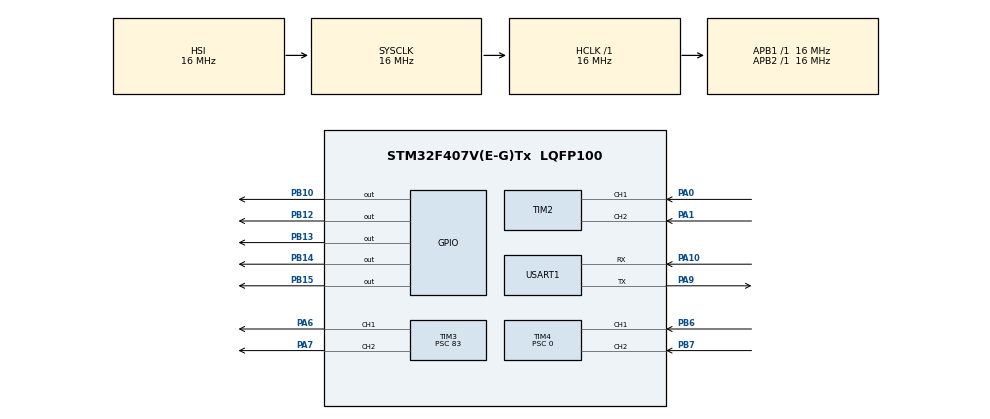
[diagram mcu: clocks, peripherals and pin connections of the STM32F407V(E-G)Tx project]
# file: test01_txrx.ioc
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Mcu.Family=STM32F4
Mcu.Name=STM32F407V(E-G)Tx
Mcu.Package=LQFP100
NVIC.PriorityGroup=NVIC_PRIORITYGROUP_4
NVIC.USART1_IRQn=true\:0\:0\:false\:false\:true\:true\:true\:true
PA0-WKUP.Signal=S_TIM2_CH1_ETR
PA1.Signal=S_TIM2_CH2
PA10.Mode=Asynchronous
PA10.Signal=USART1_RX
PA13.Mode=Serial_Wire
PA13.Signal=SYS_JTMS-SWDIO
PA14.Mode=Serial_Wire
PA14.Signal=SYS_JTCK-SWCLK
PA6.Signal=S_TIM3_CH1
PA7.Signal=S_TIM3_CH2
PA9.Mode=Asynchronous
PA9.Signal=USART1_TX
PB10.Signal=GPIO_Output
PB12.Signal=GPIO_Output
PB13.Signal=GPIO_Output
PB14.Signal=GPIO_Output
PB15.Signal=GPIO_Output
PB6.Signal=S_TIM4_CH1
PB7.Signal=S_TIM4_CH2
ProjectManager.HeapSize=0x200
ProjectManager.StackSize=0x400
ProjectManager.TargetToolchain=CMake
RCC.AHBFreq_Value=16000000
RCC.APB1Freq_Value=16000000
RCC.APB2Freq_Value=16000000
RCC.CortexFreq_Value=16000000
RCC.HSE_VALUE=25000000
RCC.HSI_VALUE=16000000
RCC.LSE_VALUE=32768
RCC.SYSCLKFreq_VALUE=16000000
RCC.VCOOutputFreq_Value=192000000
SH.S_TIM2_CH1_ETR.0=TIM2_CH1,Encoder_Interface
SH.S_TIM2_CH2.0=TIM2_CH2,Encoder_Interface
SH.S_TIM3_CH1.0=TIM3_CH1,PWM Generation1 CH1
SH.S_TIM3_CH2.0=TIM3_CH2,PWM Generation2 CH2
SH.S_TIM4_CH1.0=TIM4_CH1,Encoder_Interface
SH.S_TIM4_CH2.0=TIM4_CH2,Encoder_Interface
TIM3.Channel-PWM\ Generation1\ CH1=TIM_CHANNEL_1
TIM3.Channel-PWM\ Generation2\ CH2=TIM_CHANNEL_2
TIM3.Period=999
TIM3.Prescaler=83
TIM4.EncoderMode=TIM_ENCODERMODE_TI12
TIM4.Period=65535
TIM4.Prescaler=0
USART1.VirtualMode=VM_ASYNC
board=custom

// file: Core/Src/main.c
/* USER CODE BEGIN Header */
/**
  ******************************************************************************
  * @file           : main.c
  * @brief          : Main program body
  ******************************************************************************
  * @attention
  *
  * Copyright (c) 2026 STMicroelectronics.
  * All rights reserved.
  *
  * This software is licensed under terms that can be found in the LICENSE file
  * in the root directory of this software component.
  * If no LICENSE file comes with this software, it is provided AS-IS.
  *
  ******************************************************************************
  */
/* USER CODE END Header */
#include "main.h"

/* USER CODE BEGIN Includes */
#include <string.h>
#include <stdio.h>
#include <stdlib.h>
/* USER CODE END Includes */

/* USER CODE BEGIN PD */
#define MOTOR_A_PWM_MAX 999U
#define ENCODER_DIR_SIGN (-1)
#define RIGHT_ENCODER_SIGN 1
#define LEFT_ENCODER_FB_SIGN (1)
#define RIGHT_ENCODER_FB_SIGN (-1)
#define CMD_TO_DELTA_DIV 4
#define LEFT_PWM_PER_DELTA 5.0f
#define RIGHT_PWM_PER_DELTA 2.8f
#define SPEED_KP 1.0f
#define SPEED_KI 0.0f
#define SPEED_KD 0.0f
#define SPEED_I_LIMIT 300.0f
#define PWM_LIMIT 999
#define PWM_MIN_START 120
#define LEFT_MOTOR_SIGN -1
#define RIGHT_MOTOR_SIGN 1

/* USER CODE END PD */

TIM_HandleTypeDef htim2;
TIM_HandleTypeDef htim3;
TIM_HandleTypeDef htim4;

UART_HandleTypeDef huart1;

/* USER CODE BEGIN PV */

uint8_t rx_byte;
uint8_t rx_buf[128];
volatile uint16_t rx_len = 0;
volatile uint8_t line_ready = 0;
float cmd_vx = 0.0f;
float cmd_wz = 0.0f;
volatile uint32_t last_cmd_tick = 0;
volatile int16_t current_motor_pwm = 0;
volatile uint8_t motor_timeout = 0;
volatile int16_t current_b_pwm = 0;
volatile uint32_t last_b_cmd_tick = 0;
volatile int16_t current_left_pwm = 0;
volatile int16_t current_right_pwm = 0;
volatile uint8_t base_timeout = 0;
volatile int16_t right_encoder_count = 0;
volatile int16_t right_encoder_last = 0;
volatile int16_t right_encoder_delta = 0;
volatile int16_t target_left_delta = 0;
volatile int16_t target_right_delta = 0;
volatile int16_t actual_left_delta = 0;
volatile int16_t actual_right_delta = 0;
volatile int16_t control_left_pwm = 0;
volatile int16_t control_right_pwm = 0;
uint8_t robot_error = 0;
int cmd_vx_i = 0;
int cmd_wz_i = 0;

/* encoder variables */
volatile int32_t encoder_cnt = 0;
volatile int32_t encoder_last_cnt = 0;
volatile int32_t encoder_delta = 0;
volatile uint32_t encoder_last_tick = 0;

volatile int16_t target_speed_delta = 0;
volatile int16_t actual_speed_delta = 0;
volatile int16_t control_pwm = 0;
volatile uint8_t speed_loop_enabled = 0;

int32_t encoder_count = 0;
int32_t encoder_last = 0;
uint32_t last_speed_tick = 0;

float kp = 3.0f;
float ki = 0.0f;
float kd = 0.0f;

float pid_integral = 0.0f;
float pid_last_error = 0.0f;
static float left_err_i = 0.0f;
static float right_err_i = 0.0f;
static float left_last_err = 0.0f;
static float right_last_err = 0.0f;

/* USER CODE END PV */

void SystemClock_Config(void);
static void MX_GPIO_Init(void);
static void MX_USART1_UART_Init(void);
static void MX_TIM3_Init(void);
static void MX_TIM2_Init(void);
static void MX_TIM4_Init(void);
/* USER CODE BEGIN PFP */
void Motor_A_Stop(void);
void Motor_A_Forward(uint16_t pwm);
void Motor_A_Backward(uint16_t pwm);
void Motor_A_Set(int16_t pwm);
void Motor_B_Stop(void);
void Motor_B_Forward(uint16_t pwm);
void Motor_B_Backward(uint16_t pwm);
void Motor_B_Set(int16_t pwm);
void Base_Stop(void);
void Base_OpenLoop_Set(int16_t left_pwm, int16_t right_pwm);
void Speed_Loop_Update(void);
void Encoder_Right_Update(void);
void Base_SpeedLoop_Update(void);

/* USER CODE END PFP */

int main(void)
{

  /* MCU Configuration--------------------------------------------------------*/

  /* Reset of all peripherals, Initializes the Flash interface and the Systick. */
  HAL_Init();

  /* Configure the system clock */
  SystemClock_Config();

  /* Initialize all configured peripherals */
  MX_GPIO_Init();
  MX_USART1_UART_Init();
  MX_TIM3_Init();
  MX_TIM2_Init();
  MX_TIM4_Init();
  /* USER CODE BEGIN 2 */
  // char *hello = "Hello, UART!\r\n";
  // HAL_UART_Transmit(&huart1, (uint8_t *)hello, strlen(hello), 100);
  if (HAL_TIM_PWM_Start(&htim3, TIM_CHANNEL_1) != HAL_OK)
  {
    Error_Handler();
  }
  if (HAL_TIM_PWM_Start(&htim3, TIM_CHANNEL_2) != HAL_OK)
  {
    Error_Handler();
  }

  /* start encoder */
  if (HAL_TIM_Encoder_Start(&htim2, TIM_CHANNEL_ALL) != HAL_OK)
  {
    Error_Handler();
  }
  if (HAL_TIM_Encoder_Start(&htim4, TIM_CHANNEL_ALL) != HAL_OK)
  {
    Error_Handler();
  }

  Base_Stop();

  encoder_last = (int32_t)__HAL_TIM_GET_COUNTER(&htim2);
  encoder_count = encoder_last;
  encoder_cnt = encoder_count;
  encoder_last_cnt = encoder_count;
  encoder_delta = 0;
  actual_speed_delta = 0;
  encoder_last_tick = HAL_GetTick();
  last_speed_tick = HAL_GetTick();
  last_cmd_tick = HAL_GetTick();
  target_speed_delta = 0;
  control_pwm = 0;
  current_motor_pwm = 0;
  current_b_pwm = 0;
  current_left_pwm = 0;
  current_right_pwm = 0;
  right_encoder_last = (int16_t)__HAL_TIM_GET_COUNTER(&htim4);
  right_encoder_count = 0;
  right_encoder_delta = 0;
  target_left_delta = 0;
  target_right_delta = 0;
  actual_left_delta = 0;
  actual_right_delta = 0;
  control_left_pwm = 0;
  control_right_pwm = 0;
  speed_loop_enabled = 0;
  pid_integral = 0.0f;
  pid_last_error = 0.0f;
  left_err_i = 0.0f;
  right_err_i = 0.0f;
  left_last_err = 0.0f;
  right_last_err = 0.0f;
  motor_timeout = 0;
  base_timeout = 0;
  last_b_cmd_tick = HAL_GetTick();

  HAL_UART_Receive_IT(&huart1, &rx_byte, 1);
  const uint8_t boot_msg[] = "STM32 v0.9 STATUS PACKET BOOT\r\n";
  HAL_UART_Transmit(&huart1, (uint8_t *)boot_msg, sizeof(boot_msg) - 1U, 100);

  /* USER CODE END 2 */

  /* Infinite loop */
  while (1)
  {

    /* USER CODE BEGIN 3 */
    if (line_ready)
    {
      uint8_t line_buf[sizeof(rx_buf)];
      uint16_t line_len;

      __disable_irq();
      line_len = rx_len;
      if (line_len >= sizeof(line_buf))
      {
        line_len = sizeof(line_buf) - 1U;
      }
      memcpy(line_buf, rx_buf, line_len);
      line_buf[line_len] = '\0';
      rx_len = 0;
      rx_buf[0] = '\0';
      line_ready = 0;
      __enable_irq();

      if (sscanf((char *)line_buf, "V,%d,%d", &cmd_vx_i, &cmd_wz_i) == 2)
      {
        char msg[64];
        int32_t left_pwm_calc = (int32_t)cmd_vx_i - (int32_t)cmd_wz_i;
        int32_t right_pwm_calc = (int32_t)cmd_vx_i + (int32_t)cmd_wz_i;

        last_cmd_tick = HAL_GetTick();
        last_b_cmd_tick = HAL_GetTick();
        base_timeout = 0;
        motor_timeout = 0;

        if (left_pwm_calc > (int32_t)MOTOR_A_PWM_MAX)
        {
          left_pwm_calc = (int32_t)MOTOR_A_PWM_MAX;
        }
        else if (left_pwm_calc < -(int32_t)MOTOR_A_PWM_MAX)
        {
          left_pwm_calc = -(int32_t)MOTOR_A_PWM_MAX;
        }

        if (right_pwm_calc > (int32_t)MOTOR_A_PWM_MAX)
        {
          right_pwm_calc = (int32_t)MOTOR_A_PWM_MAX;
        }
        else if (right_pwm_calc < -(int32_t)MOTOR_A_PWM_MAX)
        {
          right_pwm_calc = -(int32_t)MOTOR_A_PWM_MAX;
        }

        target_left_delta = (int16_t)(left_pwm_calc / CMD_TO_DELTA_DIV);
        target_right_delta = (int16_t)(right_pwm_calc / CMD_TO_DELTA_DIV);

        if ((left_pwm_calc == 0) && (right_pwm_calc == 0))
        {
          speed_loop_enabled = 0;
          target_speed_delta = 0;
          control_pwm = 0;
          target_left_delta = 0;
          target_right_delta = 0;
          control_left_pwm = 0;
          control_right_pwm = 0;
          left_err_i = 0.0f;
          right_err_i = 0.0f;
          left_last_err = 0.0f;
          right_last_err = 0.0f;
          pid_integral = 0.0f;
          pid_last_error = 0.0f;
          Base_Stop();
        }
        else
        {
          speed_loop_enabled = 1;
        }

        int len = snprintf(msg, sizeof(msg),
                           "ACK,V,%d,%d,%d,%d,%d\r\n",
                           cmd_vx_i, cmd_wz_i, target_left_delta,
                           target_right_delta, speed_loop_enabled);
        if (len >= (int)sizeof(msg))
        {
          len = (int)sizeof(msg) - 1;
        }
        if (len > 0)
        {
          HAL_UART_Transmit(&huart1, (uint8_t *)msg, (uint16_t)len, 100);
        }
      }
      else if (strcmp((char *)line_buf, "Q") == 0)
      {
        const uint8_t ver_msg[] = "VER,0.9,DUAL_SPEED_LOOP_STATUS\r\n";
        HAL_UART_Transmit(&huart1, (uint8_t *)ver_msg, sizeof(ver_msg) - 1U, 100);
      }
      else
{
  int a_pwm = 0;
  int b_pwm = 0;

  if (sscanf((char *)line_buf, "A,%d", &a_pwm) == 1)
  {
    char msg[32];

    if (a_pwm > (int)MOTOR_A_PWM_MAX)
    {
      a_pwm = (int)MOTOR_A_PWM_MAX;
    }
    else if (a_pwm < -(int)MOTOR_A_PWM_MAX)
    {
      a_pwm = -(int)MOTOR_A_PWM_MAX;
    }

    // 关闭闭环，防止 PID 抢控制权
    speed_loop_enabled = 0;
    target_speed_delta = 0;
    control_pwm = 0;
    target_left_delta = 0;
    target_right_delta = 0;
    control_left_pwm = 0;
    control_right_pwm = 0;

    left_err_i = 0.0f;
    right_err_i = 0.0f;
    left_last_err = 0.0f;
    right_last_err = 0.0f;
    pid_integral = 0.0f;
    pid_last_error = 0.0f;

    // 只转 A 路，B 路停止
    Motor_B_Stop();
    current_b_pwm = 0;
    current_left_pwm = a_pwm;
    current_right_pwm = 0;

    // 这里故意不乘 LEFT_MOTOR_SIGN，用来检查 A 路物理对应哪个轮子
    Motor_A_Set((int16_t)a_pwm);

    last_b_cmd_tick = HAL_GetTick();

    int len = snprintf(msg, sizeof(msg), "ACK,A,%d\r\n", a_pwm);
    if (len >= (int)sizeof(msg))
    {
      len = (int)sizeof(msg) - 1;
    }
    if (len > 0)
    {
      HAL_UART_Transmit(&huart1, (uint8_t *)msg, (uint16_t)len, 100);
    }
  }
  else if (sscanf((char *)line_buf, "B,%d", &b_pwm) == 1)
  {
    char msg[32];

    if (b_pwm > (int)MOTOR_A_PWM_MAX)
    {
      b_pwm = (int)MOTOR_A_PWM_MAX;
    }
    else if (b_pwm < -(int)MOTOR_A_PWM_MAX)
    {
      b_pwm = -(int)MOTOR_A_PWM_MAX;
    }

    // 关闭闭环，防止 PID 抢控制权
    speed_loop_enabled = 0;
    target_speed_delta = 0;
    control_pwm = 0;
    target_left_delta = 0;
    target_right_delta = 0;
    control_left_pwm = 0;
    control_right_pwm = 0;

    left_err_i = 0.0f;
    right_err_i = 0.0f;
    left_last_err = 0.0f;
    right_last_err = 0.0f;
    pid_integral = 0.0f;
    pid_last_error = 0.0f;

    // 只转 B 路，A 路停止
    Motor_A_Stop();
    current_left_pwm = 0;
    current_right_pwm = b_pwm;

    // 这里故意不乘 RIGHT_MOTOR_SIGN，用来检查 B 路物理对应哪个轮子
    Motor_B_Set((int16_t)b_pwm);

    last_b_cmd_tick = HAL_GetTick();

    int len = snprintf(msg, sizeof(msg), "ACK,B,%d\r\n", b_pwm);
    if (len >= (int)sizeof(msg))
    {
      len = (int)sizeof(msg) - 1;
    }
    if (len > 0)
    {
      HAL_UART_Transmit(&huart1, (uint8_t *)msg, (uint16_t)len, 100);
    }
  }
  else
  {
    if ((line_buf[0] == 'V') || (line_buf[0] == 'A') || (line_buf[0] == 'B'))
    {
      const uint8_t parse_err_msg[] = "ERR,PARSE\r\n";
      HAL_UART_Transmit(&huart1, (uint8_t *)parse_err_msg, sizeof(parse_err_msg) - 1U, 100);
    }
    else
    {
      const uint8_t unknown_msg[] = "ERR,UNKNOWN_CMD\r\n";
      HAL_UART_Transmit(&huart1, (uint8_t *)unknown_msg, sizeof(unknown_msg) - 1U, 100);
    }
  }
}
    }

    if ((HAL_GetTick() - last_cmd_tick > 500U) && (speed_loop_enabled == 1U))
    {
      const uint8_t timeout_msg[] = "EVT,BASE_TIMEOUT_STOP\r\n";

      speed_loop_enabled = 0;
      target_speed_delta = 0;
      control_pwm = 0;
      target_left_delta = 0;
      target_right_delta = 0;
      control_left_pwm = 0;
      control_right_pwm = 0;
      pid_integral = 0.0f;
      pid_last_error = 0.0f;
      left_err_i = 0.0f;
      right_err_i = 0.0f;
      left_last_err = 0.0f;
      right_last_err = 0.0f;
      base_timeout = 1;
      Base_Stop();
      HAL_UART_Transmit(&huart1, (uint8_t *)timeout_msg, sizeof(timeout_msg) - 1U, 100);
    }

    if ((speed_loop_enabled == 0U) &&
        (HAL_GetTick() - last_b_cmd_tick > 1000U) && (current_b_pwm != 0))
    {
      const uint8_t timeout_b_msg[] = "MOTOR B TIMEOUT STOP\r\n";

      Motor_B_Stop();
      HAL_UART_Transmit(&huart1, (uint8_t *)timeout_b_msg, sizeof(timeout_b_msg) - 1U, 100);
    }

    if (HAL_GetTick() - last_speed_tick >= 100U)
    {
      last_speed_tick += 100U;
      Base_SpeedLoop_Update();
    }

  }

  /* USER CODE END 3 */
}

void SystemClock_Config(void)
{
  RCC_OscInitTypeDef RCC_OscInitStruct = {0};
  RCC_ClkInitTypeDef RCC_ClkInitStruct = {0};

  /** Configure the main internal regulator output voltage
  */
  __HAL_RCC_PWR_CLK_ENABLE();
  __HAL_PWR_VOLTAGESCALING_CONFIG(PWR_REGULATOR_VOLTAGE_SCALE1);

  /** Initializes the RCC Oscillators according to the specified parameters
  * in the RCC_OscInitTypeDef structure.
  */
  RCC_OscInitStruct.OscillatorType = RCC_OSCILLATORTYPE_HSI;
  RCC_OscInitStruct.HSIState = RCC_HSI_ON;
  RCC_OscInitStruct.HSICalibrationValue = RCC_HSICALIBRATION_DEFAULT;
  RCC_OscInitStruct.PLL.PLLState = RCC_PLL_NONE;
  if (HAL_RCC_OscConfig(&RCC_OscInitStruct) != HAL_OK)
  {
    Error_Handler();
  }

  /** Initializes the CPU, AHB and APB buses clocks
  */
  RCC_ClkInitStruct.ClockType = RCC_CLOCKTYPE_HCLK|RCC_CLOCKTYPE_SYSCLK
                              |RCC_CLOCKTYPE_PCLK1|RCC_CLOCKTYPE_PCLK2;
  RCC_ClkInitStruct.SYSCLKSource = RCC_SYSCLKSOURCE_HSI;
  RCC_ClkInitStruct.AHBCLKDivider = RCC_SYSCLK_DIV1;
  RCC_ClkInitStruct.APB1CLKDivider = RCC_HCLK_DIV1;
  RCC_ClkInitStruct.APB2CLKDivider = RCC_HCLK_DIV1;

  if (HAL_RCC_ClockConfig(&RCC_ClkInitStruct, FLASH_LATENCY_0) != HAL_OK)
  {
    Error_Handler();
  }
}

static void MX_TIM2_Init(void)
{

  TIM_Encoder_InitTypeDef sConfig = {0};
  TIM_MasterConfigTypeDef sMasterConfig = {0};

  htim2.Instance = TIM2;
  htim2.Init.Prescaler = 0;
  htim2.Init.CounterMode = TIM_COUNTERMODE_UP;
  htim2.Init.Period = 4294967295;
  htim2.Init.ClockDivision = TIM_CLOCKDIVISION_DIV1;
  htim2.Init.AutoReloadPreload = TIM_AUTORELOAD_PRELOAD_DISABLE;
  sConfig.EncoderMode = TIM_ENCODERMODE_TI1;
  sConfig.IC1Polarity = TIM_ICPOLARITY_RISING;
  sConfig.IC1Selection = TIM_ICSELECTION_DIRECTTI;
  sConfig.IC1Prescaler = TIM_ICPSC_DIV1;
  sConfig.IC1Filter = 0;
  sConfig.IC2Polarity = TIM_ICPOLARITY_RISING;
  sConfig.IC2Selection = TIM_ICSELECTION_DIRECTTI;
  sConfig.IC2Prescaler = TIM_ICPSC_DIV1;
  sConfig.IC2Filter = 0;
  if (HAL_TIM_Encoder_Init(&htim2, &sConfig) != HAL_OK)
  {
    Error_Handler();
  }
  sMasterConfig.MasterOutputTrigger = TIM_TRGO_RESET;
  sMasterConfig.MasterSlaveMode = TIM_MASTERSLAVEMODE_DISABLE;
  if (HAL_TIMEx_MasterConfigSynchronization(&htim2, &sMasterConfig) != HAL_OK)
  {
    Error_Handler();
  }

}

static void MX_TIM4_Init(void)
{

  TIM_Encoder_InitTypeDef sConfig = {0};
  TIM_MasterConfigTypeDef sMasterConfig = {0};

  htim4.Instance = TIM4;
  htim4.Init.Prescaler = 0;
  htim4.Init.CounterMode = TIM_COUNTERMODE_UP;
  htim4.Init.Period = 65535;
  htim4.Init.ClockDivision = TIM_CLOCKDIVISION_DIV1;
  htim4.Init.AutoReloadPreload = TIM_AUTORELOAD_PRELOAD_DISABLE;
  sConfig.EncoderMode = TIM_ENCODERMODE_TI12;
  sConfig.IC1Polarity = TIM_ICPOLARITY_RISING;
  sConfig.IC1Selection = TIM_ICSELECTION_DIRECTTI;
  sConfig.IC1Prescaler = TIM_ICPSC_DIV1;
  sConfig.IC1Filter = 0;
  sConfig.IC2Polarity = TIM_ICPOLARITY_RISING;
  sConfig.IC2Selection = TIM_ICSELECTION_DIRECTTI;
  sConfig.IC2Prescaler = TIM_ICPSC_DIV1;
  sConfig.IC2Filter = 0;
  if (HAL_TIM_Encoder_Init(&htim4, &sConfig) != HAL_OK)
  {
    Error_Handler();
  }
  sMasterConfig.MasterOutputTrigger = TIM_TRGO_RESET;
  sMasterConfig.MasterSlaveMode = TIM_MASTERSLAVEMODE_DISABLE;
  if (HAL_TIMEx_MasterConfigSynchronization(&htim4, &sMasterConfig) != HAL_OK)
  {
    Error_Handler();
  }

}

static void MX_TIM3_Init(void)
{

  TIM_MasterConfigTypeDef sMasterConfig = {0};
  TIM_OC_InitTypeDef sConfigOC = {0};

  htim3.Instance = TIM3;
  htim3.Init.Prescaler = 83;
  htim3.Init.CounterMode = TIM_COUNTERMODE_UP;
  htim3.Init.Period = 999;
  htim3.Init.ClockDivision = TIM_CLOCKDIVISION_DIV1;
  htim3.Init.AutoReloadPreload = TIM_AUTORELOAD_PRELOAD_DISABLE;
  if (HAL_TIM_PWM_Init(&htim3) != HAL_OK)
  {
    Error_Handler();
  }
  sMasterConfig.MasterOutputTrigger = TIM_TRGO_RESET;
  sMasterConfig.MasterSlaveMode = TIM_MASTERSLAVEMODE_DISABLE;
  if (HAL_TIMEx_MasterConfigSynchronization(&htim3, &sMasterConfig) != HAL_OK)
  {
    Error_Handler();
  }
  sConfigOC.OCMode = TIM_OCMODE_PWM1;
  sConfigOC.Pulse = 0;
  sConfigOC.OCPolarity = TIM_OCPOLARITY_HIGH;
  sConfigOC.OCFastMode = TIM_OCFAST_DISABLE;
  if (HAL_TIM_PWM_ConfigChannel(&htim3, &sConfigOC, TIM_CHANNEL_1) != HAL_OK)
  {
    Error_Handler();
  }
  if (HAL_TIM_PWM_ConfigChannel(&htim3, &sConfigOC, TIM_CHANNEL_2) != HAL_OK)
  {
    Error_Handler();
  }
  HAL_TIM_MspPostInit(&htim3);

}

static void MX_USART1_UART_Init(void)
{

  huart1.Instance = USART1;
  huart1.Init.BaudRate = 115200;
  huart1.Init.WordLength = UART_WORDLENGTH_8B;
  huart1.Init.StopBits = UART_STOPBITS_1;
  huart1.Init.Parity = UART_PARITY_NONE;
  huart1.Init.Mode = UART_MODE_TX_RX;
  huart1.Init.HwFlowCtl = UART_HWCONTROL_NONE;
  huart1.Init.OverSampling = UART_OVERSAMPLING_16;
  if (HAL_UART_Init(&huart1) != HAL_OK)
  {
    Error_Handler();
  }

}

static void MX_GPIO_Init(void)
{
  GPIO_InitTypeDef GPIO_InitStruct = {0};

  /* GPIO Ports Clock Enable */
  __HAL_RCC_GPIOA_CLK_ENABLE();
  __HAL_RCC_GPIOB_CLK_ENABLE();

  /*Configure GPIO pin Output Level */
  HAL_GPIO_WritePin(GPIOB, GPIO_PIN_10|GPIO_PIN_12|GPIO_PIN_13|GPIO_PIN_14
                          |GPIO_PIN_15, GPIO_PIN_RESET);

  /*Configure GPIO pins : PB10 PB12 PB13 PB14 PB15 */
  GPIO_InitStruct.Pin = GPIO_PIN_10|GPIO_PIN_12|GPIO_PIN_13|GPIO_PIN_14
                          |GPIO_PIN_15;
  GPIO_InitStruct.Mode = GPIO_MODE_OUTPUT_PP;
  GPIO_InitStruct.Pull = GPIO_NOPULL;
  GPIO_InitStruct.Speed = GPIO_SPEED_FREQ_LOW;
  HAL_GPIO_Init(GPIOB, &GPIO_InitStruct);

}

/* USER CODE BEGIN 4 */

void Motor_A_Stop(void)
{
  HAL_GPIO_WritePin(GPIOB, GPIO_PIN_12, GPIO_PIN_RESET);
  HAL_GPIO_WritePin(GPIOB, GPIO_PIN_13, GPIO_PIN_RESET);
  __HAL_TIM_SET_COMPARE(&htim3, TIM_CHANNEL_1, 0);
  current_motor_pwm = 0;
}

void Motor_A_Forward(uint16_t pwm)
{
  if (pwm > MOTOR_A_PWM_MAX)
  {
    pwm = MOTOR_A_PWM_MAX;
  }

  HAL_GPIO_WritePin(GPIOB, GPIO_PIN_10, GPIO_PIN_SET);
  HAL_GPIO_WritePin(GPIOB, GPIO_PIN_12, GPIO_PIN_SET);
  HAL_GPIO_WritePin(GPIOB, GPIO_PIN_13, GPIO_PIN_RESET);
  __HAL_TIM_SET_COMPARE(&htim3, TIM_CHANNEL_1, pwm);
}

void Motor_A_Backward(uint16_t pwm)
{
  if (pwm > MOTOR_A_PWM_MAX)
  {
    pwm = MOTOR_A_PWM_MAX;
  }

  HAL_GPIO_WritePin(GPIOB, GPIO_PIN_10, GPIO_PIN_SET);
  HAL_GPIO_WritePin(GPIOB, GPIO_PIN_12, GPIO_PIN_RESET);
  HAL_GPIO_WritePin(GPIOB, GPIO_PIN_13, GPIO_PIN_SET);
  __HAL_TIM_SET_COMPARE(&htim3, TIM_CHANNEL_1, pwm);
}

void Motor_A_Set(int16_t pwm)
{
  if (pwm > (int16_t)MOTOR_A_PWM_MAX)
  {
    pwm = (int16_t)MOTOR_A_PWM_MAX;
  }
  else if (pwm < -(int16_t)MOTOR_A_PWM_MAX)
  {
    pwm = -(int16_t)MOTOR_A_PWM_MAX;
  }

  if (pwm > 0)
  {
    Motor_A_Forward((uint16_t)pwm);
    current_motor_pwm = pwm;
  }
  else if (pwm < 0)
  {
    Motor_A_Backward((uint16_t)(-pwm));
    current_motor_pwm = pwm;
  }
  else
  {
    Motor_A_Stop();
  }
}

void Motor_B_Stop(void)
{
  HAL_GPIO_WritePin(GPIOB, GPIO_PIN_14, GPIO_PIN_RESET);
  HAL_GPIO_WritePin(GPIOB, GPIO_PIN_15, GPIO_PIN_RESET);
  __HAL_TIM_SET_COMPARE(&htim3, TIM_CHANNEL_2, 0);
  current_b_pwm = 0;
}

void Motor_B_Forward(uint16_t pwm)
{
  if (pwm > MOTOR_A_PWM_MAX)
  {
    pwm = MOTOR_A_PWM_MAX;
  }

  HAL_GPIO_WritePin(GPIOB, GPIO_PIN_10, GPIO_PIN_SET);
  HAL_GPIO_WritePin(GPIOB, GPIO_PIN_14, GPIO_PIN_SET);
  HAL_GPIO_WritePin(GPIOB, GPIO_PIN_15, GPIO_PIN_RESET);
  __HAL_TIM_SET_COMPARE(&htim3, TIM_CHANNEL_2, pwm);
}

void Motor_B_Backward(uint16_t pwm)
{
  if (pwm > MOTOR_A_PWM_MAX)
  {
    pwm = MOTOR_A_PWM_MAX;
  }

  HAL_GPIO_WritePin(GPIOB, GPIO_PIN_10, GPIO_PIN_SET);
  HAL_GPIO_WritePin(GPIOB, GPIO_PIN_14, GPIO_PIN_RESET);
  HAL_GPIO_WritePin(GPIOB, GPIO_PIN_15, GPIO_PIN_SET);
  __HAL_TIM_SET_COMPARE(&htim3, TIM_CHANNEL_2, pwm);
}

void Motor_B_Set(int16_t pwm)
{
  if (pwm > (int16_t)MOTOR_A_PWM_MAX)
  {
    pwm = (int16_t)MOTOR_A_PWM_MAX;
  }
  else if (pwm < -(int16_t)MOTOR_A_PWM_MAX)
  {
    pwm = -(int16_t)MOTOR_A_PWM_MAX;
  }

  if (pwm > 0)
  {
    Motor_B_Forward((uint16_t)pwm);
    current_b_pwm = pwm;
  }
  else if (pwm < 0)
  {
    Motor_B_Backward((uint16_t)(-pwm));
    current_b_pwm = pwm;
  }
  else
  {
    Motor_B_Stop();
  }
}

void Base_Stop(void)
{
  Motor_A_Stop();
  Motor_B_Stop();
  current_left_pwm = 0;
  current_right_pwm = 0;
  control_left_pwm = 0;
  control_right_pwm = 0;
}

void Base_OpenLoop_Set(int16_t left_pwm, int16_t right_pwm)
{
  int32_t left_output;
  int32_t right_output;

  if (left_pwm > (int16_t)MOTOR_A_PWM_MAX)
  {
    left_pwm = (int16_t)MOTOR_A_PWM_MAX;
  }
  else if (left_pwm < -(int16_t)MOTOR_A_PWM_MAX)
  {
    left_pwm = -(int16_t)MOTOR_A_PWM_MAX;
  }

  if (right_pwm > (int16_t)MOTOR_A_PWM_MAX)
  {
    right_pwm = (int16_t)MOTOR_A_PWM_MAX;
  }
  else if (right_pwm < -(int16_t)MOTOR_A_PWM_MAX)
  {
    right_pwm = -(int16_t)MOTOR_A_PWM_MAX;
  }

  left_output = (int32_t)LEFT_MOTOR_SIGN * (int32_t)left_pwm;
  right_output = (int32_t)RIGHT_MOTOR_SIGN * (int32_t)right_pwm;

  if (left_output > (int32_t)MOTOR_A_PWM_MAX)
  {
    left_output = (int32_t)MOTOR_A_PWM_MAX;
  }
  else if (left_output < -(int32_t)MOTOR_A_PWM_MAX)
  {
    left_output = -(int32_t)MOTOR_A_PWM_MAX;
  }

  if (right_output > (int32_t)MOTOR_A_PWM_MAX)
  {
    right_output = (int32_t)MOTOR_A_PWM_MAX;
  }
  else if (right_output < -(int32_t)MOTOR_A_PWM_MAX)
  {
    right_output = -(int32_t)MOTOR_A_PWM_MAX;
  }

  Motor_A_Set((int16_t)left_output);
  Motor_B_Set((int16_t)right_output);
  current_left_pwm = left_pwm;
  current_right_pwm = right_pwm;
}

void Speed_Loop_Update(void)
{
  int32_t raw_delta;

  encoder_count = (int32_t)__HAL_TIM_GET_COUNTER(&htim2);
  raw_delta = encoder_count - encoder_last;
  encoder_last = encoder_count;

  actual_speed_delta = (int16_t)raw_delta;
  encoder_cnt = encoder_count;
  encoder_delta = raw_delta;
  encoder_last_cnt = encoder_count;
  encoder_last_tick = HAL_GetTick();
}

void Encoder_Right_Update(void)
{
  int16_t now = (int16_t)__HAL_TIM_GET_COUNTER(&htim4);
  int16_t raw_delta = now - right_encoder_last;

  right_encoder_last = now;
  right_encoder_count += raw_delta;
  right_encoder_delta = raw_delta;
}

void Base_SpeedLoop_Update(void)
{
  char msg[96];
  int len;

  Speed_Loop_Update();
  Encoder_Right_Update();

  actual_left_delta = (int16_t)(LEFT_ENCODER_FB_SIGN * encoder_delta);
  actual_right_delta = (int16_t)(RIGHT_ENCODER_FB_SIGN * right_encoder_delta);

  float left_ff = (float)target_left_delta * LEFT_PWM_PER_DELTA;
  float right_ff = (float)target_right_delta * RIGHT_PWM_PER_DELTA;

  if (speed_loop_enabled == 0U)
  {
    control_left_pwm = 0;
    control_right_pwm = 0;
  }
  else
  {
    float left_err = (float)target_left_delta - (float)actual_left_delta;
    float right_err = (float)target_right_delta - (float)actual_right_delta;

    left_err_i += left_err;
    right_err_i += right_err;

    if (left_err_i > SPEED_I_LIMIT)
    {
      left_err_i = SPEED_I_LIMIT;
    }
    else if (left_err_i < -SPEED_I_LIMIT)
    {
      left_err_i = -SPEED_I_LIMIT;
    }

    if (right_err_i > SPEED_I_LIMIT)
    {
      right_err_i = SPEED_I_LIMIT;
    }
    else if (right_err_i < -SPEED_I_LIMIT)
    {
      right_err_i = -SPEED_I_LIMIT;
    }

    float left_err_d = left_err - left_last_err;
    float right_err_d = right_err - right_last_err;
    left_last_err = left_err;
    right_last_err = right_err;

    float left_out = left_ff + (SPEED_KP * left_err) +
                     (SPEED_KI * left_err_i) + (SPEED_KD * left_err_d);
    float right_out = right_ff + (SPEED_KP * right_err) +
                      (SPEED_KI * right_err_i) + (SPEED_KD * right_err_d);

    if ((target_left_delta != 0) &&
        abs(actual_left_delta) < 5 &&
        abs((int)left_out) < PWM_MIN_START)
    {
      left_out = (target_left_delta > 0) ? PWM_MIN_START : -PWM_MIN_START;
    }

    if ((target_right_delta != 0) &&
        abs(actual_right_delta) < 5 &&
        abs((int)right_out) < PWM_MIN_START)
    {
      right_out = (target_right_delta > 0) ? PWM_MIN_START : -PWM_MIN_START;
    }

    if (left_out > (float)PWM_LIMIT)
    {
      left_out = (float)PWM_LIMIT;
    }
    else if (left_out < -(float)PWM_LIMIT)
    {
      left_out = -(float)PWM_LIMIT;
    }

    if (right_out > (float)PWM_LIMIT)
    {
      right_out = (float)PWM_LIMIT;
    }
    else if (right_out < -(float)PWM_LIMIT)
    {
      right_out = -(float)PWM_LIMIT;
    }

    control_left_pwm = (int16_t)left_out;
    control_right_pwm = (int16_t)right_out;

    Motor_A_Set((int16_t)(LEFT_MOTOR_SIGN * control_left_pwm));
    Motor_B_Set((int16_t)(RIGHT_MOTOR_SIGN * control_right_pwm));
    current_left_pwm = control_left_pwm;
    current_right_pwm = control_right_pwm;
  }

  len = snprintf(msg, sizeof(msg),
                 "STAT,%d,%d,%d,%d,%d,%d,%d,%d,%d\r\n",
                 speed_loop_enabled, target_left_delta, actual_left_delta, control_left_pwm,
                 target_right_delta, actual_right_delta, control_right_pwm,
                 (int)left_ff, (int)right_ff);
  if (len >= (int)sizeof(msg))
  {
    len = (int)sizeof(msg) - 1;
  }
  if (len > 0)
  {
    HAL_UART_Transmit(&huart1, (uint8_t *)msg, (uint16_t)len, 100);
  }
}

void HAL_UART_RxCpltCallback(UART_HandleTypeDef *huart)
{
  if (huart->Instance == USART1)
  {
    if (rx_byte == '\n' || rx_byte == '\r')
    {
      if (rx_len > 0)
      {
        rx_buf[rx_len] = '\0';
        line_ready = 1;
      }
    }
    else if (!line_ready)
    {
      if (rx_len < sizeof(rx_buf) - 1)
      {
        rx_buf[rx_len++] = rx_byte;
      }
    }

    HAL_UART_Receive_IT(&huart1, &rx_byte, 1);
  }
}

/* USER CODE END 4 */

void Error_Handler(void)
{
  __disable_irq();
  while (1)
  {
  }
}
